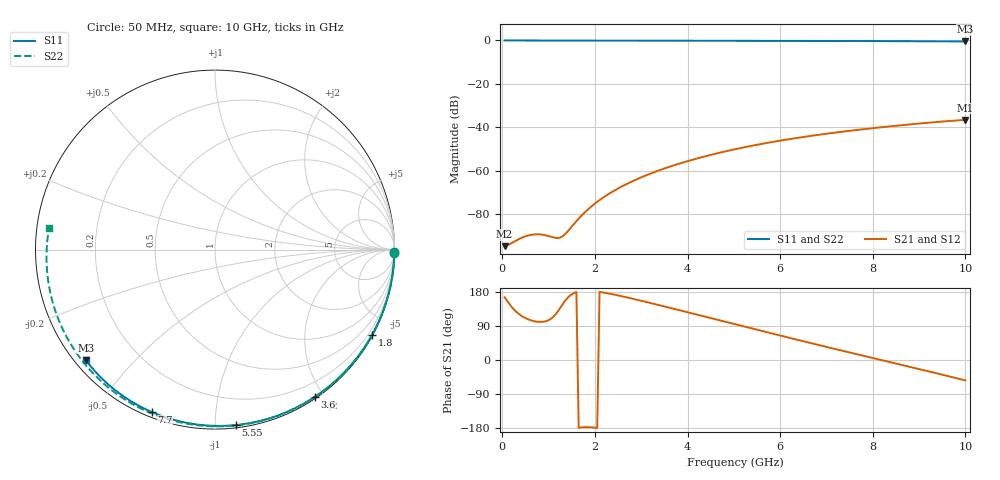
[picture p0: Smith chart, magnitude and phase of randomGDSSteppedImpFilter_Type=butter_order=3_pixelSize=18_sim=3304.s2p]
! freq	dB(S11)	phase(S11)	dB(S12)	phase(S12)
!  dB(S21)	phase(S21)	dB(S22)	phase(S22)
!S-par simulation data
#  GHz  S  DB  R 50
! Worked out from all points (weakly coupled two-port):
!   200 points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, 50 MHz to 10 GHz, reference 50 ohm
!   highest |S21| = -36.61 dB at 10 GHz (marker M1); lowest = -94.9 dB at 50 MHz (marker M2)
!   lowest |S11| = -0.5 dB at 10 GHz (marker M3), VSWR 36.67, Z = 1.55 - j18.4 ohm
!   |S11| at or under -10 dB: nowhere
!   |S22| runs from -0.6 to 0.0 dB; largest |S21 - S12| = 0
!   S11 on the Smith chart (normalised r, x): 50 MHz: open; 1.8 GHz: 0.03, -3.92; 3.6 GHz: 0.02, -1.89; 5.55 GHz: 0.02, -1.12; 7.7 GHz: 0.02, -0.68; 10 GHz: 0.03, -0.37
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0.05  -0.00 -0.8  -94.87 165.3  -94.87 165.3  -0.00 -1.0
0.45  -0.01 -7.2  -90.72 113.9  -90.72 113.9  -0.01 -9.4
0.85  -0.02 -13.6  -89.52 100.6  -89.52 100.6  -0.02 -17.7
1.3  -0.03 -20.8  -90.33 146.7  -90.33 146.7  -0.03 -26.9
1.75  -0.04 -27.8  -79.92 -177.4  -79.92 -177.4  -0.05 -36.0
1.8  -0.04 -28.6  -78.89 -177.2  -78.89 -177.2  -0.05 -37.0
1.95  -0.04 -30.9  -76.08 -178.0  -76.08 -178.0  -0.05 -40.0
2.1  -0.04 -33.3  -73.62 179.7  -73.62 179.7  -0.05 -42.9
2.45  -0.05 -38.6  -68.86 171.7  -68.86 171.7  -0.06 -49.8
2.9  -0.06 -45.5  -64.06 159.2  -64.06 159.2  -0.08 -58.6
3.4  -0.07 -52.9  -59.80 144.4  -59.80 144.4  -0.09 -68.1
3.6  -0.08 -55.9  -58.33 138.3  -58.33 138.3  -0.10 -71.9
4.3  -0.09 -66.0  -53.88 116.9  -53.88 116.9  -0.12 -84.8
5.05  -0.12 -76.5  -50.05 93.7  -50.05 93.7  -0.15 -98.3
5.55  -0.14 -83.3  -47.91 78.4  -47.91 78.4  -0.18 -107.1
6.1  -0.16 -90.7  -45.85 61.6  -45.85 61.6  -0.21 -116.7
6.7  -0.19 -98.5  -43.89 43.5  -43.89 43.5  -0.25 -127.1
7.7  -0.25 -111.2  -41.17 14.0  -41.17 14.0  -0.33 -144.5
8.35  -0.30 -119.3  -39.66 -4.9  -39.66 -4.9  -0.40 -156.0
9.2  -0.38 -129.8  -37.94 -29.8  -37.94 -29.8  -0.50 -171.7
9.6  -0.43 -134.6  -37.23 -41.7  -37.23 -41.7  -0.55 -179.4
10  -0.47 -139.5  -36.61 -53.9  -36.61 -53.9  -0.61 172.6
